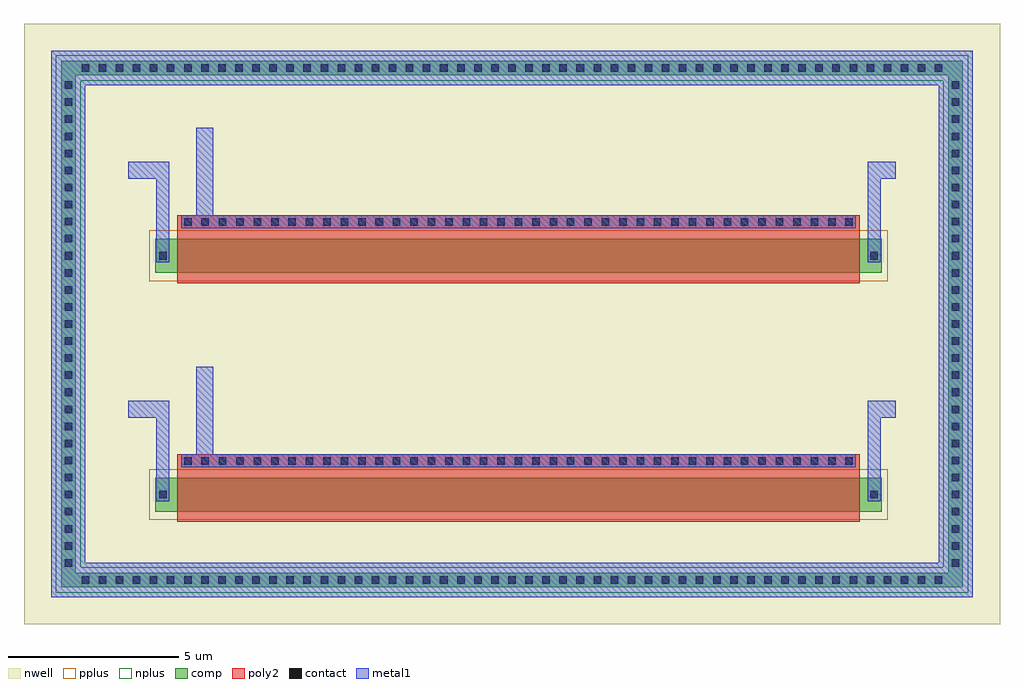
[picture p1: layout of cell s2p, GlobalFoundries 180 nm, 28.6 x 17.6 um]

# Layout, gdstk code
import gdstk
lib = gdstk.Library(unit=1e-6, precision=1e-09)
def R(c, l, rs):  # rectangles x0, y0, x1, y1
    for r in rs: c.add(gdstk.rectangle(r[:2], r[2:], *l))
def A(c, l, x, y, w, h, nx, ny, dx, dy):  # array of equal rectangles
    R(c, l, [(x+i*dx, y+j*dy, x+i*dx+w, y+j*dy+h) for i in range(nx) for j in range(ny)])
nwell = (21, 0)
comp = (22, 0)
poly2 = (30, 0)
pplus = (31, 0)
nplus = (32, 0)
contact = (33, 0)
metal1 = (34, 0)

pfet__9 = lib.new_cell('pfet__9')
R(pfet__9, nwell, [(-0.9,-0.44,21.28,1.44)])
R(pfet__9, comp, [(-0.46,0,0,1), (0,0,20.38,1), (20.38,0,20.84,1)])
R(pfet__9, poly2, [(0.19,-0.3,20.19,1.3), (0.19,1.3,20.19,1.68)])
R(pfet__9, pplus, [(-0.63,-0.24,21.01,1.24)])
A(pfet__9, contact, 0.39, 1.38, 0.22, 0.22, 39, 1, 0.51, 0)
R(pfet__9, contact, [(-0.34,0.39,-0.12,0.61), (20.5,0.39,20.72,0.61)])
R(pfet__9, metal1, [(-0.42,0.305,-0.04,0.695), (20.42,0.305,20.8,0.695), (0.31,1.3,20.07,1.68)])

s2p = lib.new_cell('s2p')
R(s2p, nwell, [(-4.3,-3.3,24.3,14.3)])
R(s2p, comp, [(-3.21,-2.21,-2.79,13.21), (-2.79,-2.21,22.79,-1.79), (22.79,-2.21,23.21,13.21), (-2.79,12.79,22.79,13.21)])
R(s2p, nplus, [(-3.37,-2.37,23.37,-1.63), (-3.37,-2.37,-2.63,13.37), (22.63,-2.37,23.37,13.37), (-3.37,12.63,23.37,13.37)])
A(s2p, contact, -2.61, -2.11, 0.22, 0.22, 51, 2, 0.5, 15)
A(s2p, contact, -3.11, -1.61, 0.22, 0.22, 1, 29, 0, 0.5)
A(s2p, contact, 22.89, -1.61, 0.22, 0.22, 1, 29, 0, 0.5)
R(s2p, metal1, [(-3.5,-2.5,-2.5,13.5), (-2.5,-2.5,22.5,-1.5), (22.5,-2.5,23.5,13.5), (-0.42,0.675,-0.04,3.25), (20.42,0.675,20.8,3.25), (0.75,1.66,1.25,4.25), (-1.25,2.75,-0.04,3.25), (20.42,2.75,21.25,3.25), (-0.42,7.675,-0.04,10.25), (20.42,7.675,20.8,10.25), (0.75,8.66,1.25,11.25), (-1.25,9.75,-0.04,10.25), (20.42,9.75,21.25,10.25), (-2.5,12.5,22.5,13.5)])
s2p.add(gdstk.Reference(pfet__9, (0,0)))
s2p.add(gdstk.Reference(pfet__9, (0,7)))

lib.write_gds('s2p.gds')
